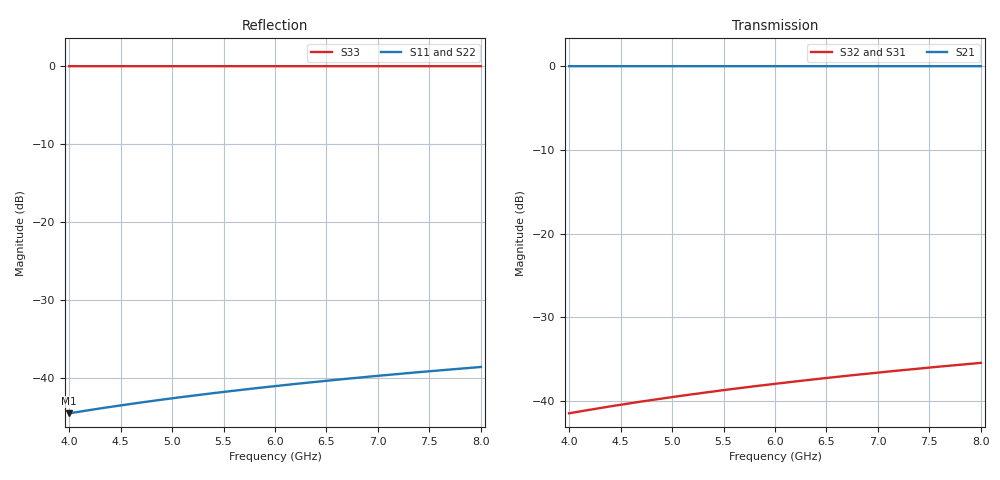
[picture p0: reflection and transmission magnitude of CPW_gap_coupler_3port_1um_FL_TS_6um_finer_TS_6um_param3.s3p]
! Sonnet Data File
! From: em Version : 15.52
! From Project: CPW_gap_coupler_3port_1um_FL_TS_6um_finer
! Data is De-embedded
! Data File Written: 08/14/2018 18:07:51
!< HDATE 08/14/2018 17:46:56
!< MDATE 08/14/2018 17:46:56
!< PARAMS
!< gap = 2.0
!< cpwS = 5.0
!< cpwS1 = 5.0
!< feedW = 12.0
!< feedS1 = 5.0
!< cond_length = 244.0
!< inner_length = 226.0
!< hangerW = 12.0000175
!< open_gap = 22.0
!< coupler_length = 250.0
!< END PARAMS
# GHZ S MA R 50.00000
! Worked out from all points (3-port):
!   201 points, 4 GHz to 8 GHz, reference 50 ohm
!   strongest paths, dB at 4 GHz, 5 GHz, 6 GHz, 7 GHz, 8 GHz:
!     S21: 0.0, 0.0, 0.0, 0.0, 0.0
!     S32: -41.5, -39.5, -37.9, -36.6, -35.4
!     S31: -41.5, -39.5, -37.9, -36.6, -35.4
!   lowest |S11| = -44.5 dB at 4 GHz (marker M1), VSWR 1.01, Z = 50.1 + j0.591 ohm
!   |S11| at or under -10 dB: start of sweep to end of sweep
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4  0.005935 83.9  0.9999 -9.2  0.008447 82.1
   0.9999 -9.2  0.005932 78.4  0.008449 81.6
   0.008447 82.1  0.008449 81.6  0.9999 -7.4
4.22  0.006259 83.6  0.9999 -9.7  0.008912 81.7
      0.9999 -9.7  0.006256 77.8  0.008914 81.2
      0.008912 81.7  0.008914 81.2  0.9999 -7.8
4.46  0.006613 83.2  0.9999 -10.2  0.009418 81.2
      0.9999 -10.2  0.006609 77.1  0.009421 80.7
      0.009418 81.2  0.009421 80.7  0.9999 -8.3
4.96  0.007348 82.5  0.9999 -11.4  0.01047 80.2
      0.9999 -11.4  0.007343 75.6  0.01048 79.6
      0.01047 80.2  0.01048 79.6  0.9999 -9.2
5.48  0.008111 81.7  0.9999 -12.6  0.01157 79.2
      0.9999 -12.6  0.008103 74.1  0.01158 78.6
      0.01157 79.2  0.01158 78.6  0.9999 -10.2
6  0.008871 80.9  0.9999 -13.8  0.01267 78.1
   0.9999 -13.8  0.008862 72.6  0.01268 77.5
   0.01267 78.1  0.01268 77.5  0.9998 -11.1
6.46  0.009542 80.2  0.9999 -14.8  0.01364 77.2
      0.9999 -14.8  0.00953 71.3  0.01365 76.5
      0.01364 77.2  0.01365 76.5  0.9998 -12.0
6.98  0.0103 79.5  0.9998 -16.0  0.01474 76.2
      0.9998 -16.0  0.01028 69.8  0.01475 75.4
      0.01474 76.2  0.01475 75.4  0.9998 -13.0
7.5  0.01105 78.7  0.9998 -17.2  0.01584 75.2
     0.9998 -17.2  0.01103 68.3  0.01585 74.3
     0.01584 75.2  0.01585 74.3  0.9997 -13.9
8  0.01177 77.9  0.9998 -18.3  0.01689 74.2
   0.9998 -18.3  0.01175 66.8  0.01691 73.3
   0.01689 74.2  0.01691 73.3  0.9997 -14.9
